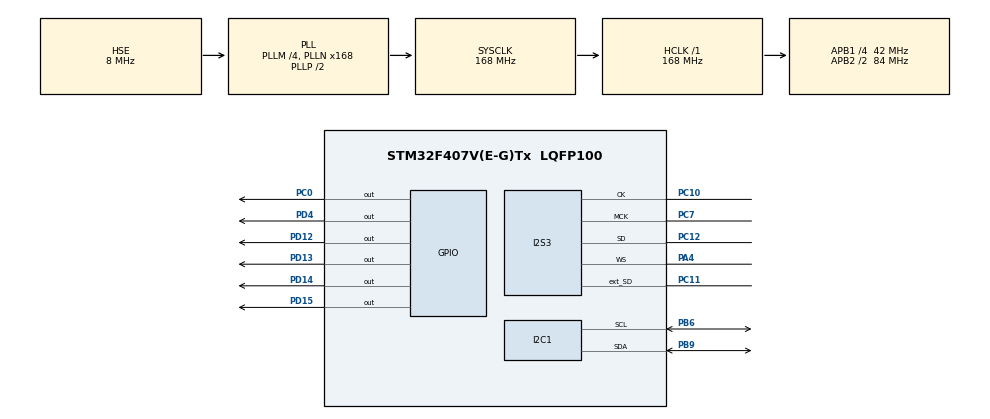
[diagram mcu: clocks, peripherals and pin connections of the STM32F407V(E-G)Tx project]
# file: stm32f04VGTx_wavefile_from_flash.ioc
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Dma.Request0=SPI3_TX
Dma.SPI3_TX.0.Direction=DMA_MEMORY_TO_PERIPH
Dma.SPI3_TX.0.FIFOMode=DMA_FIFOMODE_ENABLE
Dma.SPI3_TX.0.FIFOThreshold=DMA_FIFO_THRESHOLD_FULL
Dma.SPI3_TX.0.Instance=DMA1_Stream5
Dma.SPI3_TX.0.MemBurst=DMA_MBURST_INC8
Dma.SPI3_TX.0.MemDataAlignment=DMA_MDATAALIGN_BYTE
Dma.SPI3_TX.0.MemInc=DMA_MINC_ENABLE
Dma.SPI3_TX.0.Mode=DMA_NORMAL
Dma.SPI3_TX.0.PeriphBurst=DMA_PBURST_SINGLE
Dma.SPI3_TX.0.PeriphDataAlignment=DMA_PDATAALIGN_HALFWORD
Dma.SPI3_TX.0.PeriphInc=DMA_PINC_DISABLE
Dma.SPI3_TX.0.Priority=DMA_PRIORITY_LOW
I2C1.OwnAddress=0x33
I2S3.AudioFreq=I2S_AUDIOFREQ_48K
I2S3.ErrorAudioFreq=-2.34 %
I2S3.FullDuplexMode=I2S_FULLDUPLEXMODE_ENABLE
I2S3.Instance=SPI$Index
I2S3.RealAudioFreq=46.875 KHz
I2S3.VirtualMode=I2S_MODE_MASTER
Mcu.Family=STM32F4
Mcu.Name=STM32F407V(E-G)Tx
Mcu.Package=LQFP100
NVIC.DMA1_Stream5_IRQn=true\:0\:0\:false\:false\:true\:false\:true
NVIC.PriorityGroup=NVIC_PRIORITYGROUP_0
PA4.Mode=Full_Duplex_Master
PA4.Signal=I2S3_WS
PB6.Mode=I2C
PB6.Signal=I2C1_SCL
PB9.Mode=I2C
PB9.Signal=I2C1_SDA
PC0.Signal=GPIO_Output
PC10.Mode=Full_Duplex_Master
PC10.Signal=I2S3_CK
PC11.Mode=Full_Duplex_Master
PC11.Signal=I2S3_ext_SD
PC12.Mode=Full_Duplex_Master
PC12.Signal=I2S3_SD
PC7.Mode=Master_Clock_Activated
PC7.Signal=I2S3_MCK
PD12.Signal=GPIO_Output
PD13.Signal=GPIO_Output
PD14.Signal=GPIO_Output
PD15.Signal=GPIO_Output
PD4.GPIO_PuPd=GPIO_PULLDOWN
PD4.GPIO_Speed=GPIO_SPEED_FREQ_MEDIUM
PD4.Signal=GPIO_Output
PH0-OSC_IN.Mode=HSE-External-Oscillator
PH0-OSC_IN.Signal=RCC_OSC_IN
PH1-OSC_OUT.Mode=HSE-External-Oscillator
PH1-OSC_OUT.Signal=RCC_OSC_OUT
ProjectManager.HeapSize=0x2000
ProjectManager.StackSize=0x4000
ProjectManager.TargetToolchain=TrueSTUDIO
RCC.48MHZClocksFreq_Value=48000000
RCC.AHBFreq_Value=168000000
RCC.APB1CLKDivider=RCC_HCLK_DIV4
RCC.APB1Freq_Value=42000000
RCC.APB1TimFreq_Value=84000000
RCC.APB2CLKDivider=RCC_HCLK_DIV2
RCC.APB2Freq_Value=84000000
RCC.APB2TimFreq_Value=168000000
RCC.CortexFreq_Value=168000000
RCC.HCLKFreq_Value=168000000
RCC.HSE_VALUE=8000000
RCC.HSI_VALUE=16000000
RCC.LSE_VALUE=32768
RCC.PLLM=4
RCC.PLLN=168
RCC.PLLQ=7
RCC.PLLSourceVirtual=RCC_PLLSOURCE_HSE
RCC.SYSCLKFreq_VALUE=168000000
RCC.SYSCLKSource=RCC_SYSCLKSOURCE_PLLCLK
RCC.VCOOutputFreq_Value=336000000
board=STM32F407G-DISC1

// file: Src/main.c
/* USER CODE BEGIN Header */
/**
  ******************************************************************************
  * @file           : main.c
  * @brief          : Main program body
  ******************************************************************************
  * @attention
  *
  * <h2><center>&copy; Copyright (c) 2019 STMicroelectronics.
  * All rights reserved.</center></h2>
  *
  * This software component is licensed by ST under Ultimate Liberty license
  * SLA0044, the "License"; You may not use this file except in compliance with
  * the License. You may obtain a copy of the License at:
  *                             www.st.com/SLA0044
  *
  ******************************************************************************
  */
/* USER CODE END Header */

#include "main.h"

/* USER CODE BEGIN Includes */
#include "audioplay.h"
/* USER CODE END Includes */

/* USER CODE BEGIN PD */
extern AUDIO_StateMachine Audio;
extern uint8_t audio_data[];
WAVE_FormatTypeDef * waveformat = NULL;
uint32_t WaveDataLength = 0;
char str [100];
char *FileName = "audio.wav";
uint8_t info [44];

/* USER CODE END PD */

I2C_HandleTypeDef hi2c1;

I2S_HandleTypeDef hi2s3;
DMA_HandleTypeDef hdma_spi3_tx;

void SystemClock_Config(void);
static void MX_GPIO_Init(void);
static void MX_DMA_Init(void);
static void MX_I2C1_Init(void);
static void MX_I2S3_Init(void);

/* USER CODE BEGIN 0 */
void HAL_I2S_TxCpltCallback (I2S_HandleTypeDef * hi2s3) {
  if (hi2s3-> Instance == I2S3) {
    /* Call the user function which will manage directly transfer complete */
    AudioPlay_TransferComplete_CallBack ();
  }
}

// ����������������

void HAL_I2S_TxHalfCpltCallback (I2S_HandleTypeDef * hi2s) {
  if (hi2s-> Instance == I2S3) {
    /* Manage the remaining file size and new address offset: This function should
       be coded by user (its prototype is already declared in stm32f4_discovery_audio.h) */
    AudioPlay_HalfTransfer_CallBack ();
  }
}

void GetFileInfo (void) {
#if 1
	waveformat = (WAVE_FormatTypeDef *)audio_data;
#else
    if (f_open (&WavFile, FileName, FA_OPEN_EXISTING | FA_READ) == FR_OK) {
        uint32_t duration;
        uint32_t bytesread;
        waveformat = (WAVE_FormatTypeDef *)audio_data;
        if (f_read (&WavFile, info, 44, (void *)&bytesread) == FR_OK) {
            waveformat = (WAVE_FormatTypeDef *) info;
            //duration = waveformat-> FileSize / waveformat-> ByteRate;
        }
        f_close (&WavFile);
    }
#endif
}

void MenuProcess (void){
	switch (Audio.state) {
    	case AUDIO_IDLE:
    		Audio.state = AUDIO_WAIT;
    		break;
    	case AUDIO_WAIT:
    		GetFileInfo();
            AudioPlay_Init (waveformat-> SampleRate);
            Audio.state = AUDIO_PLAYBACK;
            break;
    	case AUDIO_EXPLORE:
            break;
        case AUDIO_PLAYBACK:
            WaveDataLength = waveformat-> FileSize;
            AudioPlay_Start (waveformat-> SampleRate);
            Audio.state = AUDIO_IDLE;
            break;
        case AUDIO_IN:
            break;
        default:
        	break;
	}
}
// ������������
/* USER CODE END 0 */

int main(void)
{

  /* MCU Configuration--------------------------------------------------------*/

  /* Reset of all peripherals, Initializes the Flash interface and the Systick. */
  HAL_Init();

  /* Configure the system clock */
  SystemClock_Config();

  /* Initialize all configured peripherals */
  MX_GPIO_Init();
  MX_DMA_Init();
  MX_I2C1_Init();
  MX_I2S3_Init();

  /* Infinite loop */
  while (1)
  {

    /* USER CODE BEGIN 3 */
    MenuProcess ();
  }
  /* USER CODE END 3 */
}

void SystemClock_Config(void)
{
  RCC_OscInitTypeDef RCC_OscInitStruct = {0};
  RCC_ClkInitTypeDef RCC_ClkInitStruct = {0};
  RCC_PeriphCLKInitTypeDef PeriphClkInitStruct = {0};

  /** Configure the main internal regulator output voltage
  */
  __HAL_RCC_PWR_CLK_ENABLE();
  __HAL_PWR_VOLTAGESCALING_CONFIG(PWR_REGULATOR_VOLTAGE_SCALE1);
  /** Initializes the CPU, AHB and APB busses clocks
  */
  RCC_OscInitStruct.OscillatorType = RCC_OSCILLATORTYPE_HSE;
  RCC_OscInitStruct.HSEState = RCC_HSE_ON;
  RCC_OscInitStruct.PLL.PLLState = RCC_PLL_ON;
  RCC_OscInitStruct.PLL.PLLSource = RCC_PLLSOURCE_HSE;
  RCC_OscInitStruct.PLL.PLLM = 4;
  RCC_OscInitStruct.PLL.PLLN = 168;
  RCC_OscInitStruct.PLL.PLLP = RCC_PLLP_DIV2;
  RCC_OscInitStruct.PLL.PLLQ = 7;
  if (HAL_RCC_OscConfig(&RCC_OscInitStruct) != HAL_OK)
  {
    Error_Handler();
  }
  /** Initializes the CPU, AHB and APB busses clocks
  */
  RCC_ClkInitStruct.ClockType = RCC_CLOCKTYPE_HCLK|RCC_CLOCKTYPE_SYSCLK
                              |RCC_CLOCKTYPE_PCLK1|RCC_CLOCKTYPE_PCLK2;
  RCC_ClkInitStruct.SYSCLKSource = RCC_SYSCLKSOURCE_PLLCLK;
  RCC_ClkInitStruct.AHBCLKDivider = RCC_SYSCLK_DIV1;
  RCC_ClkInitStruct.APB1CLKDivider = RCC_HCLK_DIV4;
  RCC_ClkInitStruct.APB2CLKDivider = RCC_HCLK_DIV2;

  if (HAL_RCC_ClockConfig(&RCC_ClkInitStruct, FLASH_LATENCY_5) != HAL_OK)
  {
    Error_Handler();
  }
  PeriphClkInitStruct.PeriphClockSelection = RCC_PERIPHCLK_I2S;
  PeriphClkInitStruct.PLLI2S.PLLI2SN = 192;
  PeriphClkInitStruct.PLLI2S.PLLI2SR = 2;
  if (HAL_RCCEx_PeriphCLKConfig(&PeriphClkInitStruct) != HAL_OK)
  {
    Error_Handler();
  }
}

static void MX_I2C1_Init(void)
{

  hi2c1.Instance = I2C1;
  hi2c1.Init.ClockSpeed = 100000;
  hi2c1.Init.DutyCycle = I2C_DUTYCYCLE_2;
  hi2c1.Init.OwnAddress1 = 102;
  hi2c1.Init.AddressingMode = I2C_ADDRESSINGMODE_7BIT;
  hi2c1.Init.DualAddressMode = I2C_DUALADDRESS_DISABLE;
  hi2c1.Init.OwnAddress2 = 0;
  hi2c1.Init.GeneralCallMode = I2C_GENERALCALL_DISABLE;
  hi2c1.Init.NoStretchMode = I2C_NOSTRETCH_DISABLE;
  if (HAL_I2C_Init(&hi2c1) != HAL_OK)
  {
    Error_Handler();
  }

}

static void MX_I2S3_Init(void)
{

  hi2s3.Instance = SPI3;
  hi2s3.Init.Mode = I2S_MODE_MASTER_TX;
  hi2s3.Init.Standard = I2S_STANDARD_PHILIPS;
  hi2s3.Init.DataFormat = I2S_DATAFORMAT_16B;
  hi2s3.Init.MCLKOutput = I2S_MCLKOUTPUT_ENABLE;
  hi2s3.Init.AudioFreq = I2S_AUDIOFREQ_48K;
  hi2s3.Init.CPOL = I2S_CPOL_LOW;
  hi2s3.Init.ClockSource = I2S_CLOCK_PLL;
  hi2s3.Init.FullDuplexMode = I2S_FULLDUPLEXMODE_ENABLE;
  if (HAL_I2S_Init(&hi2s3) != HAL_OK)
  {
    Error_Handler();
  }

}

static void MX_DMA_Init(void)
{

  /* DMA controller clock enable */
  __HAL_RCC_DMA1_CLK_ENABLE();

  /* DMA interrupt init */
  /* DMA1_Stream5_IRQn interrupt configuration */
  HAL_NVIC_SetPriority(DMA1_Stream5_IRQn, 0, 0);
  HAL_NVIC_EnableIRQ(DMA1_Stream5_IRQn);

}

static void MX_GPIO_Init(void)
{
  GPIO_InitTypeDef GPIO_InitStruct = {0};

  /* GPIO Ports Clock Enable */
  __HAL_RCC_GPIOH_CLK_ENABLE();
  __HAL_RCC_GPIOC_CLK_ENABLE();
  __HAL_RCC_GPIOA_CLK_ENABLE();
  __HAL_RCC_GPIOD_CLK_ENABLE();
  __HAL_RCC_GPIOB_CLK_ENABLE();

  /*Configure GPIO pin Output Level */
  HAL_GPIO_WritePin(GPIOC, GPIO_PIN_0, GPIO_PIN_RESET);

  /*Configure GPIO pin Output Level */
  HAL_GPIO_WritePin(GPIOD, GPIO_PIN_12|GPIO_PIN_13|GPIO_PIN_14|GPIO_PIN_15
                          |GPIO_PIN_4, GPIO_PIN_RESET);

  /*Configure GPIO pin : PC0 */
  GPIO_InitStruct.Pin = GPIO_PIN_0;
  GPIO_InitStruct.Mode = GPIO_MODE_OUTPUT_PP;
  GPIO_InitStruct.Pull = GPIO_NOPULL;
  GPIO_InitStruct.Speed = GPIO_SPEED_FREQ_LOW;
  HAL_GPIO_Init(GPIOC, &GPIO_InitStruct);

  /*Configure GPIO pins : PD12 PD13 PD14 PD15 */
  GPIO_InitStruct.Pin = GPIO_PIN_12|GPIO_PIN_13|GPIO_PIN_14|GPIO_PIN_15;
  GPIO_InitStruct.Mode = GPIO_MODE_OUTPUT_PP;
  GPIO_InitStruct.Pull = GPIO_NOPULL;
  GPIO_InitStruct.Speed = GPIO_SPEED_FREQ_LOW;
  HAL_GPIO_Init(GPIOD, &GPIO_InitStruct);

  /*Configure GPIO pin : PD4 */
  GPIO_InitStruct.Pin = GPIO_PIN_4;
  GPIO_InitStruct.Mode = GPIO_MODE_OUTPUT_PP;
  GPIO_InitStruct.Pull = GPIO_PULLDOWN;
  GPIO_InitStruct.Speed = GPIO_SPEED_FREQ_MEDIUM;
  HAL_GPIO_Init(GPIOD, &GPIO_InitStruct);

}

void Error_Handler(void)
{
}

/************************ (C) COPYRIGHT STMicroelectronics *****END OF FILE****/
